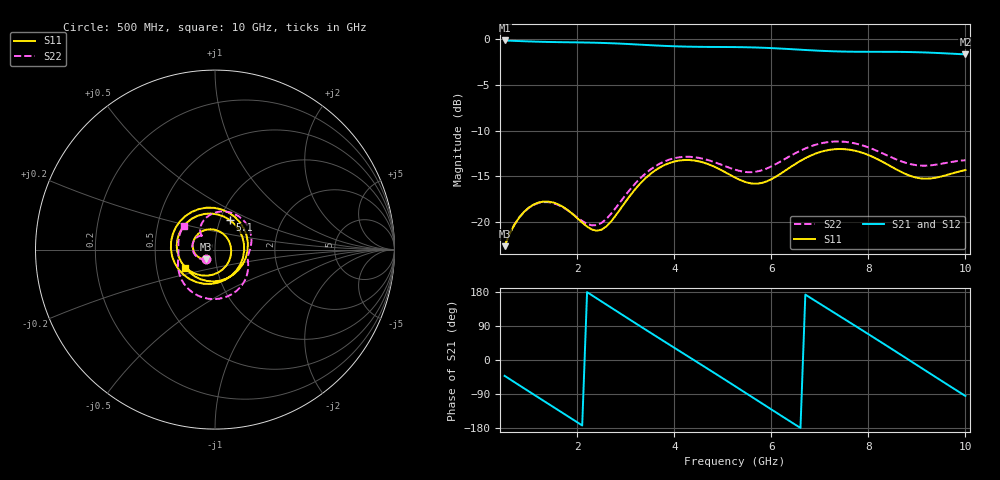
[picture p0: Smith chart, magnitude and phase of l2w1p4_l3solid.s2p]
! Touchstone file exported from HFSS 3D Layout Design 2026.1.0
!  File:  D:/Work/ADS/HFSS_VERDICT/hfss_sma_connector_cpw.aedt
!  Generated:  12:58:46 PM Aug  6, 2026
!  Design:  SINGLE_END_SMA_CPW_30MM
!  Project:  hfss_sma_connector_cpw
! Variables:
!  $sma_Base_D = 6.25mm
!  $sma_Base_L = 8mm
!  $sma_Feet_L = 4mm
!  $sma_Feet_W = 1mm
!  $sma_Front_L = 1.5mm
!  $sma_Front_W = 6.5mm
!  $sma_Hole_D = 1.25mm
!  $sma_PTFE_D = 4.2mm
!  $sma_Pin_D = 0.95mm
!  $sma_Pin_P = 1.7mm
# GHz S MA R 50.000000
! Terminal data exported
! Port[1] = Port1
! Port[2] = S1_1_Pin_T1
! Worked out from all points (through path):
!   96 points, 500 MHz to 10 GHz, reference 50 ohm
!   highest |S21| = -0.11 dB at 500 MHz (marker M1); lowest = -1.6 dB at 10 GHz (marker M2)
!   group delay of S21, straight-line fit = 226 ps
!   lowest |S11| = -22.6 dB at 500 MHz (marker M3), VSWR 1.16, Z = 44.9 - j4.84 ohm
!   |S11| at or under -10 dB: start of sweep to end of sweep
!   |S22| runs from -22.6 to -11.2 dB; largest |S21 - S12| = 1.5e-14
!   S11 on the Smith chart (normalised r, x): 500 MHz: 0.90, -0.10; 5.1 GHz: 1.11, +0.38; 10 GHz: 0.70, -0.15
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0.5  0.07382 -133.5  0.9872 -41.8  0.9872 -41.8  0.07414 -131.9
0.9  0.1137 -168.5  0.9775 -74.7  0.9775 -74.7  0.1136 -163.7
1.3  0.1295 155.1  0.9701 -107.3  0.9701 -107.3  0.1286 167.4
1.7  0.1213 114.4  0.9658 -140.0  0.9658 -140.0  0.1206 143.9
2.1  0.09931 63.2  0.9625 -172.8  0.9625 -172.8  0.1013 131.5
2.5  0.0909 -5.0  0.9572 154.3  0.9572 154.3  0.09904 133.2
3  0.1299 -83.2  0.9454 113.3  0.9454 113.3  0.1413 125.8
3.3  0.163 -118.2  0.9363 88.8  0.9363 88.8  0.174 111.4
3.7  0.1991 -158.3  0.9244 56.4  0.9244 56.4  0.209 87.2
4.4  0.2175 136.4  0.9119 0.0  0.9119 0.0  0.2269 42.1
5.1  0.1843 63.1  0.9088 -56.7  0.9088 -56.7  0.1999 4.9
5.3  0.1727 38.3  0.9077 -73.0  0.9077 -73.0  0.1919 -2.6
5.7  0.1623 -16.4  0.903 -105.8  0.903 -105.8  0.1891 -14.5
6.2  0.1847 -84.1  0.891 -146.8  0.891 -146.8  0.2156 -31.5
6.9  0.2366 -161.2  0.8698 156.5  0.8698 156.5  0.2646 -67.9
7.3  0.2506 160.0  0.8609 124.4  0.8609 124.4  0.2762 -92.0
7.7  0.2467 121.6  0.8565 92.4  0.8565 92.4  0.2705 -116.0
8.1  0.2269 81.1  0.8556 60.1  0.8556 60.1  0.2504 -138.1
8.5  0.1993 36.2  0.8553 27.6  0.8553 27.6  0.2248 -156.6
9.2  0.1728 -54.1  0.8478 -29.8  0.8478 -29.8  0.2038 179.0
9.6  0.1805 -104.4  0.8387 -62.5  0.8387 -62.5  0.2108 163.0
10  0.1927 -148.8  0.8284 -95.0  0.8284 -95.0  0.2181 142.5
